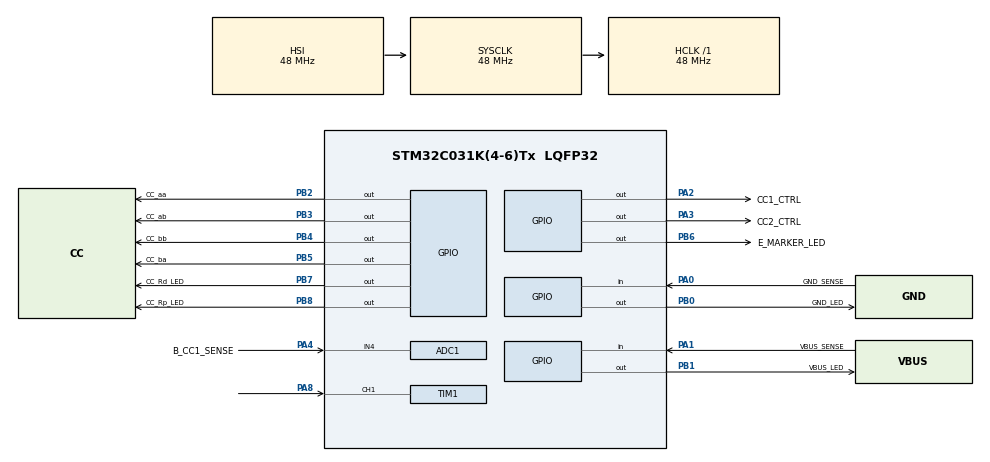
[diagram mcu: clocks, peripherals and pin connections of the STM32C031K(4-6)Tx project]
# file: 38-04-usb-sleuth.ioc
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ADC1.Channel-2\#ChannelRegularConversion=ADC_CHANNEL_4
ADC1.ContinuousConvMode=DISABLE
ADC1.LowPowerAutoPowerOff=ENABLE
ADC1.NbrOfConversion=1
ADC1.NbrOfConversionFlag=1
ADC1.Overrun=ADC_OVR_DATA_OVERWRITTEN
ADC1.Rank-2\#ChannelRegularConversion=1
ADC1.SamplingTime-2\#ChannelRegularConversion=ADC_SAMPLINGTIME_COMMON_1
ADC1.SamplingTimeCommon1=ADC_SAMPLETIME_160CYCLES_5
ADC1.SelectedChannel=ADC_CHANNEL_4
ADC1.Sequencer=FULLY_CONFIGURABLE
ADC1.master=1
Mcu.Family=STM32C0
Mcu.Name=STM32C031K(4-6)Tx
Mcu.Package=LQFP32
PA0.GPIO_Label=GND_SENSE
PA0.Signal=GPIO_Input
PA1.GPIO_Label=VBUS_SENSE
PA1.Signal=GPIO_Input
PA13.Mode=Serial_Wire
PA13.Signal=DEBUG_SWDIO
PA14-BOOT0.Mode=Serial_Wire
PA14-BOOT0.Signal=DEBUG_SWCLK
PA2.GPIO_Label=CC1_CTRL
PA2.Signal=GPIO_Output
PA3.GPIO_Label=CC2_CTRL
PA3.Signal=GPIO_Output
PA4.GPIO_Label=B_CC1_SENSE
PA4.Mode=IN4
PA4.Signal=ADC1_IN4
PA5.GPIO_Label=B_CC2_SENSE
PA5.Signal=ADC1_IN5
PA6.GPIO_Label=A_CC1
PA6.Signal=ADC1_IN6
PA7.GPIO_Label=A_CC2
PA7.Signal=ADC1_IN7
PA8.Signal=S_TIM1_CH1
PB0.GPIO_Label=GND_LED
PB0.Signal=GPIO_Output
PB1.GPIO_Label=VBUS_LED
PB1.Signal=GPIO_Output
PB2.GPIO_Label=CC_aa
PB2.Signal=GPIO_Output
PB3.GPIO_Label=CC_ab
PB3.Signal=GPIO_Output
PB4.GPIO_Label=CC_bb
PB4.Signal=GPIO_Output
PB5.GPIO_Label=CC_ba
PB5.Signal=GPIO_Output
PB6.GPIO_Label=E_MARKER_LED
PB6.Signal=GPIO_Output
PB7.GPIO_Label=CC_Rd_LED
PB7.Signal=GPIO_Output
PB8.GPIO_Label=CC_Rp_LED
PB8.Signal=GPIO_Output
ProjectManager.HeapSize=0x200
ProjectManager.StackSize=0x400
ProjectManager.TargetToolchain=STM32CubeIDE
RCC.ADCFreq_Value=48000000
RCC.AHBFreq_Value=48000000
RCC.CortexFreq_Value=48000000
RCC.EXTERNAL_CLOCK_VALUE=12288000
RCC.HCLKFreq_Value=48000000
RCC.HSE_VALUE=8000000
RCC.HSISYSCLKDivider=RCC_HSI_DIV1
RCC.HSI_VALUE=48000000
RCC.LSE_VALUE=32768
RCC.SYSCLKFreq_VALUE=48000000
SH.S_TIM1_CH1.0=TIM1_CH1,Input_Capture1_from_TI1
TIM1.Channel-Input_Capture1_from_TI1=TIM_CHANNEL_1
board=custom

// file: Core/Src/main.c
/* USER CODE BEGIN Header */
/**
  ******************************************************************************
  * @file           : main.c
  * @brief          : Main program body
  ******************************************************************************
  * @attention
  *
  * Copyright (c) 2024 STMicroelectronics.
  * All rights reserved.
  *
  * This software is licensed under terms that can be found in the LICENSE file
  * in the root directory of this software component.
  * If no LICENSE file comes with this software, it is provided AS-IS.
  *
  ******************************************************************************
  */
/* USER CODE END Header */
#include "main.h"

ADC_HandleTypeDef hadc1;

TIM_HandleTypeDef htim1;

/* USER CODE BEGIN PV */

// flags
uint8_t gnd_conn = 0;
uint8_t vbus_conn = 0;
uint8_t cc_conn_aa = 0;
uint8_t cc_conn_ab = 0;
uint8_t cc_conn_ba = 0;
uint8_t cc_conn_bb = 0;
uint8_t Rp_conn = 0;
uint8_t Rd_conn = 0;
uint8_t Ra_conn = 0;
uint16_t RP_THRESH = 300; // adjust for analog read
int analog_val1;
int analog_val2;

/* USER CODE END PV */

void SystemClock_Config(void);
static void MX_GPIO_Init(void);
static void MX_ADC1_Init(void);
static void MX_TIM1_Init(void);

/* USER CODE BEGIN 0 */

static void ADC_Select04(void) {
	  // Configure PA4
	  ADC_ChannelConfTypeDef sConfig = {0};

	  sConfig.Channel = ADC_CHANNEL_4;
	  sConfig.Rank = ADC_REGULAR_RANK_1;
	  sConfig.SamplingTime = ADC_SAMPLINGTIME_COMMON_1;
	  if (HAL_ADC_ConfigChannel(&hadc1, &sConfig) != HAL_OK)
	  {
	    Error_Handler();
	  }
}

static void ADC_Select05(void) {
	  // Configure PA5
	  ADC_ChannelConfTypeDef sConfig = {0};

	  sConfig.Channel = ADC_CHANNEL_5;
	  sConfig.Rank = ADC_REGULAR_RANK_1;
	  sConfig.SamplingTime = ADC_SAMPLINGTIME_COMMON_1;
	  if (HAL_ADC_ConfigChannel(&hadc1, &sConfig) != HAL_OK)
	  {
	    Error_Handler();
	  }
}

/* USER CODE END 0 */

int main(void)
{

  /* MCU Configuration--------------------------------------------------------*/

  /* Reset of all peripherals, Initializes the Flash interface and the Systick. */
  HAL_Init();

  /* Configure the system clock */
  SystemClock_Config();

  /* Initialize all configured peripherals */
  MX_GPIO_Init();
  MX_ADC1_Init();
  MX_TIM1_Init();
  /* USER CODE BEGIN 2 */

  // Note reconfigured GND_SENSE_Pin as Pullup in MX_GPIO_INIT() function above; all others are floating

  /* USER CODE END 2 */

  /* Infinite loop */
  /* USER CODE BEGIN WHILE */
  while (1)
  {
	  // ------ Section X - Drive LEDs based on previous loop -----------
	  // Port A: [8..0] is p CC_Rp_LED_Pin CC_Rd_LED_Pin ... VBUS_LED_Pin GND_LED_Pin ]
	  uint16_t led_mask = (
			  gnd_conn << 0 |
			  vbus_conn << 1 |
			  cc_conn_aa << 2 |
			  cc_conn_ab << 3 |
			  cc_conn_bb << 4 |
			  cc_conn_ba << 5 |
			  Ra_conn << 6 |
			  Rd_conn << 7 |
			  Rp_conn << 8
			  );

	  // set the outputs to the current value of the flags (note no mask)
	  GPIOB->ODR = ((uint16_t)led_mask); // set bits 0 to 8
	  //HAL_Delay(20);

	  // Reset flags for "single path" through code
	  gnd_conn = 0;
	  vbus_conn = 0;
	  cc_conn_aa = 0;
	  cc_conn_ab = 0;
	  cc_conn_ba = 0;
	  cc_conn_bb = 0;
	  Rp_conn = 0;
	  Rd_conn = 0;
	  Ra_conn = 0;

	  // ------ Section 1 - Testing VBUS Line ---------
	  // Requires: SW2A == Closed (VBUS_A4 → VDD via 2K)
	  // B_VBUS is pulled up to Vdd via 2K; A_VBUS_SENSE is pulled down via 10K; Vsense = 10K/12K = HIGH
	  if (HAL_GPIO_ReadPin(GPIOA, VBUS_SENSE_Pin) == GPIO_PIN_SET ) {
	    vbus_conn = 1;
	    HAL_Delay(300); // to allow plug to fully seat
	  }
	  else {
	    vbus_conn = 0;
	    // Now check for ground in the case that VBUS wire is damaged and we still want to test the others
	    // Note cable physical properties assures that ground connection is made before VBUS so no need for delay before reading GND_SENSE_Pin
	    if (HAL_GPIO_ReadPin(GPIOA, GND_SENSE_Pin) == GPIO_PIN_RESET) {
	    	HAL_Delay(300); // to let the other pins set since GND is first
	    	// proceed with other tests (note we set the gnd_conn flag below for passed test)
	    }
	    else {
	    	gnd_conn = 0;
	    	continue; // if VBUS_SENSE_Pin and GND_SENSE_Pin == 0 then restart the loop (flags will be reset after additional cycle)
	    }

	  }

	  // ------ Section 2 - Testing Ground Line ---------
	  // Requires: GND_SENSE pin as pullup input, SW2B == CLOSED (B_GND_B1 → GND)
	  // Check if the A side ground pin is pulled to ground (short), else HIGH via internal Rp
	  if (HAL_GPIO_ReadPin(GPIOA, GND_SENSE_Pin) == GPIO_PIN_RESET) {
		  gnd_conn = 1;

	  }
	  else {
		  gnd_conn = 0;
	  }

	  // ------ Section 3 - Test for USB C <> USB C --------
	  // Test Requires: A_CC1 == HIGH & A_CC2_Pin, CCx_CTRL_PIN == LOW
	  // Check B_CCx_Sense == A_CC1 with A_CC1 HIGH and all others LOW
	    GPIO_InitTypeDef GPIO_InitStruct = {0};

	    GPIO_InitStruct.Pin = A_CC1_Pin | A_CC2_Pin;
	    GPIO_InitStruct.Mode = GPIO_MODE_OUTPUT_PP;
	    GPIO_InitStruct.Pull = GPIO_NOPULL;
	    GPIO_InitStruct.Speed = GPIO_SPEED_FREQ_LOW;
	    HAL_GPIO_Init(GPIOA, &GPIO_InitStruct);
	    HAL_GPIO_WritePin(GPIOA, A_CC1_Pin | A_CC2_Pin, GPIO_PIN_SET); // A_CC1 & A_CC2 → HIGH for C<>C check

	    // Configure B_CCx_Sense pins as floating inputs
	    GPIO_InitStruct.Pin = B_CC1_SENSE_Pin | B_CC2_SENSE_Pin;
	    GPIO_InitStruct.Mode = GPIO_MODE_INPUT;
	    GPIO_InitStruct.Pull = GPIO_NOPULL;
	    HAL_GPIO_Init(GPIOA, &GPIO_InitStruct);
	    // Configure CCx_CTRL pins as output LOW
	    GPIO_InitStruct.Pin = (CC1_CTRL_Pin|CC2_CTRL_Pin);
	    GPIO_InitStruct.Mode = GPIO_MODE_OUTPUT_PP;
	    GPIO_InitStruct.Pull = GPIO_NOPULL;
	    HAL_GPIO_Init(GPIOA, &GPIO_InitStruct);
	    HAL_GPIO_WritePin(GPIOA, CC1_CTRL_Pin|CC2_CTRL_Pin, GPIO_PIN_RESET);

	    // "Entry Test" for C<>C With both A_CC1 & A_CC2 HIGH & B_CCx_CTRL LOW, one of B_CCx_SENSE should come HIGH
	    // Note this also works for the case that Rp is present since Rp is weak, the CTRL pulldown will override (since the pin won't be connected through to the A_CCx side)
	    if ( (HAL_GPIO_ReadPin(GPIOA, B_CC1_SENSE_Pin) == 1) || (HAL_GPIO_ReadPin(GPIOA, B_CC2_SENSE_Pin) == 1) ) {
		    // Test 3A with A_CC1 HIGH, STD>STD or STD>FLIP: if B_CCx_Sense is HIGH then it is connected to A_CC1
	    	// now pull A_CC2 LOW to test A_CC1 connection
	    	HAL_GPIO_WritePin(GPIOA, A_CC2_Pin, GPIO_PIN_RESET);
		    if (HAL_GPIO_ReadPin(GPIOA, B_CC1_SENSE_Pin) == 1) {
		    	cc_conn_aa = 1; // STD>STD is A_CC1→B_CC1
		    }
		    else {
		    	cc_conn_aa = 0;
		    	// Check for connection from A_CC1 to B_CC2
			    if (HAL_GPIO_ReadPin(GPIOA, B_CC2_SENSE_Pin) == 1) {
			    	cc_conn_ab = 1; // STD>FLIP is A_CC1→B_CC2
			    	// #here we never get past here?
			    }
			    else {
			    	cc_conn_ab = 0;
			    	// Could be due to A_CC1 connected to VCONN and pulled down via Active Cable, so check with A_CC2 HIGH
				    HAL_GPIO_WritePin(GPIOA, A_CC1_Pin, GPIO_PIN_RESET);
				    HAL_GPIO_WritePin(GPIOA, A_CC2_Pin, GPIO_PIN_SET);
				    // with A_CC2 HIGH check B_CC1_Sense (conn_ba)
				    if (HAL_GPIO_ReadPin(GPIOA, B_CC1_SENSE_Pin) == 1) {
				    	cc_conn_ba = 1; // A_CC2 → B_CC1 is Flip>Std or conn_ba
				    }
				    else {
				    	cc_conn_ba = 0;
				    	// with A_CC2 HIGH check B_CC2_Sense (conn_bb or Flip>Flip)
				    	if (HAL_GPIO_ReadPin(GPIOA, B_CC2_SENSE_Pin) == 1) {
				    		cc_conn_bb = 1;
				    	}
				    	else {
				    		cc_conn_bb = 0;
				    	}
				    }
			    }
		    }
	    	// end CC orientation test

		    // begin active cable test
		    // ------- Section 4: Test Active Cable (E Marker) ------
		    // If we set A_CC1 & A_CC2 as input pullup and read A_CCx, if one is LOW then there is Ra pulldown
		    // Note set the CCx CTRL pins to floating
		    // Requires: A_CCx as INPUT_PULLUP, CCx_CTRL as floating
		    GPIO_InitStruct.Pin = A_CC2_Pin | A_CC1_Pin;
		    GPIO_InitStruct.Mode = GPIO_MODE_INPUT;
		    GPIO_InitStruct.Pull = GPIO_PULLUP;
		    HAL_GPIO_Init(GPIOA, &GPIO_InitStruct);

		    GPIO_InitStruct.Pin = CC1_CTRL_Pin | CC2_CTRL_Pin;
			GPIO_InitStruct.Mode = GPIO_MODE_OUTPUT_OD;
			GPIO_InitStruct.Pull = GPIO_NOPULL;
			HAL_GPIO_Init(GPIOA, &GPIO_InitStruct);
			HAL_GPIO_WritePin(GPIOA, CC1_CTRL_Pin | CC2_CTRL_Pin, GPIO_PIN_SET); // open drain high is floating

			if ( cc_conn_aa || cc_conn_ab ) {
				// A_CC1 side is CC pin, so A_CC2 must be VCONN
				if ( (HAL_GPIO_ReadPin(GPIOA, A_CC2_Pin) == 0) ) {
					Ra_conn = 1;
				}
				else {
					Ra_conn = 0;
				}
			}
			else if ( cc_conn_ba || cc_conn_bb ) {
				// A_CC2 side is CC pin so A_CC1 must be VCONN
				if ( (HAL_GPIO_ReadPin(GPIOA, A_CC1_Pin) == 0) ) {
					Ra_conn = 1;
				}
				else {
					Ra_conn = 0;
				}
			}
			else {
					Ra_conn = 0;
				}

		    // end active cable test
	    }
	    else {
	    	// not a C<>C cable
	    	cc_conn_aa = 0;
	    	cc_conn_ab = 0;
	    	cc_conn_bb = 0;
	    	cc_conn_ba = 0;
	    }
	    // Reset Pins

	    // Test 5 & 6 - Type C to Type A or Type B Pullup or Pulldown

	    GPIO_InitStruct.Pin = A_CC2_Pin | A_CC1_Pin;
	    GPIO_InitStruct.Mode = GPIO_MODE_INPUT;
	    GPIO_InitStruct.Pull = GPIO_PULLUP;
	    HAL_GPIO_Init(GPIOA, &GPIO_InitStruct);
	    // Only test if not C<>C
	    if ( (cc_conn_aa || cc_conn_ab || cc_conn_ba || cc_conn_bb) == 0) {
	    	// Test 5 - Type C to B Pulldown 5K6
	    	// Result: If ACCx digital read is LOW then pulldown exists
	    	if ( (HAL_GPIO_ReadPin(GPIOA, A_CC1_Pin) == 0) || (HAL_GPIO_ReadPin(GPIOA, A_CC2_Pin) == 0) ) {
	    		Rd_conn = 1;
	    	}
	    	else {
	    		Rd_conn = 0;
	    	}

	    	// Test 6 - Type C to A Pullup Rp 56K - reqs ADC
	    	// Configure CCx_CTRL Pins as Output Low
		    GPIO_InitStruct.Pin = CC1_CTRL_Pin | CC2_CTRL_Pin;
		    GPIO_InitStruct.Mode = GPIO_MODE_OUTPUT_PP;
		    GPIO_InitStruct.Pull = GPIO_NOPULL;
		    HAL_GPIO_Init(GPIOA, &GPIO_InitStruct);
		    HAL_GPIO_WritePin(GPIOA, CC1_CTRL_Pin | CC2_CTRL_Pin, GPIO_PIN_RESET);

	    	// Configure B_CCx_Sense Pins as analog
	    	GPIO_InitStruct.Pin = B_CC1_SENSE_Pin | B_CC2_SENSE_Pin;
	    	GPIO_InitStruct.Mode = GPIO_MODE_ANALOG;
	    	GPIO_InitStruct.Pull = GPIO_NOPULL;
	    	HAL_GPIO_Init(GPIOA, &GPIO_InitStruct);

	    	// Configure ADC for B_CC1_Sense Pin PA4
			ADC_Select04();
			HAL_ADC_Start(&hadc1); // restart since we stopped it earlier
			// start, poll, assign
		    HAL_ADC_PollForConversion(&hadc1, 500U);
			analog_val1 = HAL_ADC_GetValue(&hadc1); // Example ADC reads with STLink 3.3V supply: LOW=130, Rp=500, HIGH=3000
			HAL_ADC_Stop(&hadc1);

			ADC_Select05();
			HAL_ADC_Start(&hadc1);
			// start, poll, assign
		    HAL_ADC_PollForConversion(&hadc1, 500U);
			analog_val2 = HAL_ADC_GetValue(&hadc1); // Example ADC reads with STLink 3.3V supply: LOW=130, Rp=500, HIGH=3000
			HAL_ADC_Stop(&hadc1);

			if ( (analog_val1 > RP_THRESH) || (analog_val2) > RP_THRESH ) {
				Rp_conn = 1;
			}
			else {
				Rp_conn = 0;
			}
    /* USER CODE END WHILE */

  }
  }
}

void SystemClock_Config(void)
{
  RCC_OscInitTypeDef RCC_OscInitStruct = {0};
  RCC_ClkInitTypeDef RCC_ClkInitStruct = {0};

  /** Initializes the RCC Oscillators according to the specified parameters
  * in the RCC_OscInitTypeDef structure.
  */
  RCC_OscInitStruct.OscillatorType = RCC_OSCILLATORTYPE_HSI;
  RCC_OscInitStruct.HSIState = RCC_HSI_ON;
  RCC_OscInitStruct.HSIDiv = RCC_HSI_DIV1;
  RCC_OscInitStruct.HSICalibrationValue = RCC_HSICALIBRATION_DEFAULT;
  if (HAL_RCC_OscConfig(&RCC_OscInitStruct) != HAL_OK)
  {
    Error_Handler();
  }

  /** Initializes the CPU, AHB and APB buses clocks
  */
  RCC_ClkInitStruct.ClockType = RCC_CLOCKTYPE_HCLK|RCC_CLOCKTYPE_SYSCLK
                              |RCC_CLOCKTYPE_PCLK1;
  RCC_ClkInitStruct.SYSCLKSource = RCC_SYSCLKSOURCE_HSI;
  RCC_ClkInitStruct.SYSCLKDivider = RCC_SYSCLK_DIV1;
  RCC_ClkInitStruct.AHBCLKDivider = RCC_HCLK_DIV1;
  RCC_ClkInitStruct.APB1CLKDivider = RCC_APB1_DIV1;

  if (HAL_RCC_ClockConfig(&RCC_ClkInitStruct, FLASH_LATENCY_1) != HAL_OK)
  {
    Error_Handler();
  }
}

static void MX_ADC1_Init(void)
{

  ADC_ChannelConfTypeDef sConfig = {0};

  /** Configure the global features of the ADC (Clock, Resolution, Data Alignment and number of conversion)
  */
  hadc1.Instance = ADC1;
  hadc1.Init.ClockPrescaler = ADC_CLOCK_SYNC_PCLK_DIV2;
  hadc1.Init.Resolution = ADC_RESOLUTION_12B;
  hadc1.Init.DataAlign = ADC_DATAALIGN_RIGHT;
  hadc1.Init.ScanConvMode = ADC_SCAN_DISABLE;
  hadc1.Init.EOCSelection = ADC_EOC_SINGLE_CONV;
  hadc1.Init.LowPowerAutoWait = DISABLE;
  hadc1.Init.LowPowerAutoPowerOff = ENABLE;
  hadc1.Init.ContinuousConvMode = DISABLE;
  hadc1.Init.NbrOfConversion = 1;
  hadc1.Init.DiscontinuousConvMode = DISABLE;
  hadc1.Init.ExternalTrigConv = ADC_SOFTWARE_START;
  hadc1.Init.ExternalTrigConvEdge = ADC_EXTERNALTRIGCONVEDGE_NONE;
  hadc1.Init.DMAContinuousRequests = DISABLE;
  hadc1.Init.Overrun = ADC_OVR_DATA_OVERWRITTEN;
  hadc1.Init.SamplingTimeCommon1 = ADC_SAMPLETIME_160CYCLES_5;
  hadc1.Init.SamplingTimeCommon2 = ADC_SAMPLETIME_1CYCLE_5;
  hadc1.Init.OversamplingMode = DISABLE;
  hadc1.Init.TriggerFrequencyMode = ADC_TRIGGER_FREQ_HIGH;
  if (HAL_ADC_Init(&hadc1) != HAL_OK)
  {
    Error_Handler();
  }

  /** Configure Regular Channel
  */
  sConfig.Channel = ADC_CHANNEL_4;
  sConfig.Rank = ADC_REGULAR_RANK_1;
  sConfig.SamplingTime = ADC_SAMPLINGTIME_COMMON_1;
  if (HAL_ADC_ConfigChannel(&hadc1, &sConfig) != HAL_OK)
  {
    Error_Handler();
  }
  /* USER CODE BEGIN ADC1_Init 2 */
  // Custom Configuration for B_CC1_SENSE_Pin=PA4 and B_CC2_SENSE_Pin=PA5
  // TODO/later Enable multiple scan mode
//  hadc1.Init.ScanConvMode = ADC_SCAN_DIRECTION_FORWARD;
//  hadc1.Init.NbrOfConversion = 2; // 2 channels
//  hadc1.Init.DiscontinuousConvMode = DISABLE; // single conversion

  /* USER CODE END ADC1_Init 2 */

}

static void MX_TIM1_Init(void)
{

  TIM_MasterConfigTypeDef sMasterConfig = {0};
  TIM_IC_InitTypeDef sConfigIC = {0};

  htim1.Instance = TIM1;
  htim1.Init.Prescaler = 0;
  htim1.Init.CounterMode = TIM_COUNTERMODE_UP;
  htim1.Init.Period = 65535;
  htim1.Init.ClockDivision = TIM_CLOCKDIVISION_DIV1;
  htim1.Init.RepetitionCounter = 0;
  htim1.Init.AutoReloadPreload = TIM_AUTORELOAD_PRELOAD_DISABLE;
  if (HAL_TIM_IC_Init(&htim1) != HAL_OK)
  {
    Error_Handler();
  }
  sMasterConfig.MasterOutputTrigger = TIM_TRGO_RESET;
  sMasterConfig.MasterOutputTrigger2 = TIM_TRGO2_RESET;
  sMasterConfig.MasterSlaveMode = TIM_MASTERSLAVEMODE_DISABLE;
  if (HAL_TIMEx_MasterConfigSynchronization(&htim1, &sMasterConfig) != HAL_OK)
  {
    Error_Handler();
  }
  sConfigIC.ICPolarity = TIM_INPUTCHANNELPOLARITY_RISING;
  sConfigIC.ICSelection = TIM_ICSELECTION_DIRECTTI;
  sConfigIC.ICPrescaler = TIM_ICPSC_DIV1;
  sConfigIC.ICFilter = 0;
  if (HAL_TIM_IC_ConfigChannel(&htim1, &sConfigIC, TIM_CHANNEL_1) != HAL_OK)
  {
    Error_Handler();
  }

}

static void MX_GPIO_Init(void)
{
  GPIO_InitTypeDef GPIO_InitStruct = {0};

  /* GPIO Ports Clock Enable */
  __HAL_RCC_GPIOA_CLK_ENABLE();
  __HAL_RCC_GPIOB_CLK_ENABLE();

  /*Configure GPIO pin Output Level */
  HAL_GPIO_WritePin(GPIOA, CC1_CTRL_Pin|CC2_CTRL_Pin, GPIO_PIN_RESET);

  /*Configure GPIO pin Output Level */
  HAL_GPIO_WritePin(GPIOB, GND_LED_Pin|VBUS_LED_Pin|CC_aa_Pin|CC_ab_Pin
                          |CC_bb_Pin|CC_ba_Pin|E_MARKER_LED_Pin|CC_Rd_LED_Pin
                          |CC_Rp_LED_Pin, GPIO_PIN_RESET);

  /*Configure GPIO pins : GND_SENSE_Pin VBUS_SENSE_Pin */
  GPIO_InitStruct.Pin = GND_SENSE_Pin|VBUS_SENSE_Pin;
  GPIO_InitStruct.Mode = GPIO_MODE_INPUT;
  GPIO_InitStruct.Pull = GPIO_NOPULL;
  HAL_GPIO_Init(GPIOA, &GPIO_InitStruct);

  /*Configure GPIO pins : CC1_CTRL_Pin CC2_CTRL_Pin */
  GPIO_InitStruct.Pin = CC1_CTRL_Pin|CC2_CTRL_Pin;
  GPIO_InitStruct.Mode = GPIO_MODE_OUTPUT_PP;
  GPIO_InitStruct.Pull = GPIO_NOPULL;
  GPIO_InitStruct.Speed = GPIO_SPEED_FREQ_LOW;
  HAL_GPIO_Init(GPIOA, &GPIO_InitStruct);

  /*Configure GPIO pins : GND_LED_Pin VBUS_LED_Pin CC_aa_Pin CC_ab_Pin
                           CC_bb_Pin CC_ba_Pin E_MARKER_LED_Pin CC_Rd_LED_Pin
                           CC_Rp_LED_Pin */
  GPIO_InitStruct.Pin = GND_LED_Pin|VBUS_LED_Pin|CC_aa_Pin|CC_ab_Pin
                          |CC_bb_Pin|CC_ba_Pin|E_MARKER_LED_Pin|CC_Rd_LED_Pin
                          |CC_Rp_LED_Pin;
  GPIO_InitStruct.Mode = GPIO_MODE_OUTPUT_PP;
  GPIO_InitStruct.Pull = GPIO_NOPULL;
  GPIO_InitStruct.Speed = GPIO_SPEED_FREQ_LOW;
  HAL_GPIO_Init(GPIOB, &GPIO_InitStruct);

/* USER CODE BEGIN MX_GPIO_Init_2 */
  // Reconfigure GND_LED_Pin as INPUT_PULLUP (couldn't figure out how to do this in the viewer)
  GPIO_InitStruct.Pin = GND_SENSE_Pin;
  GPIO_InitStruct.Mode = GPIO_MODE_INPUT;
  GPIO_InitStruct.Pull = GPIO_PULLUP; // <---
  HAL_GPIO_Init(GPIOA, &GPIO_InitStruct);
/* USER CODE END MX_GPIO_Init_2 */
}

void Error_Handler(void)
{
  __disable_irq();
  while (1)
  {
  }
}
